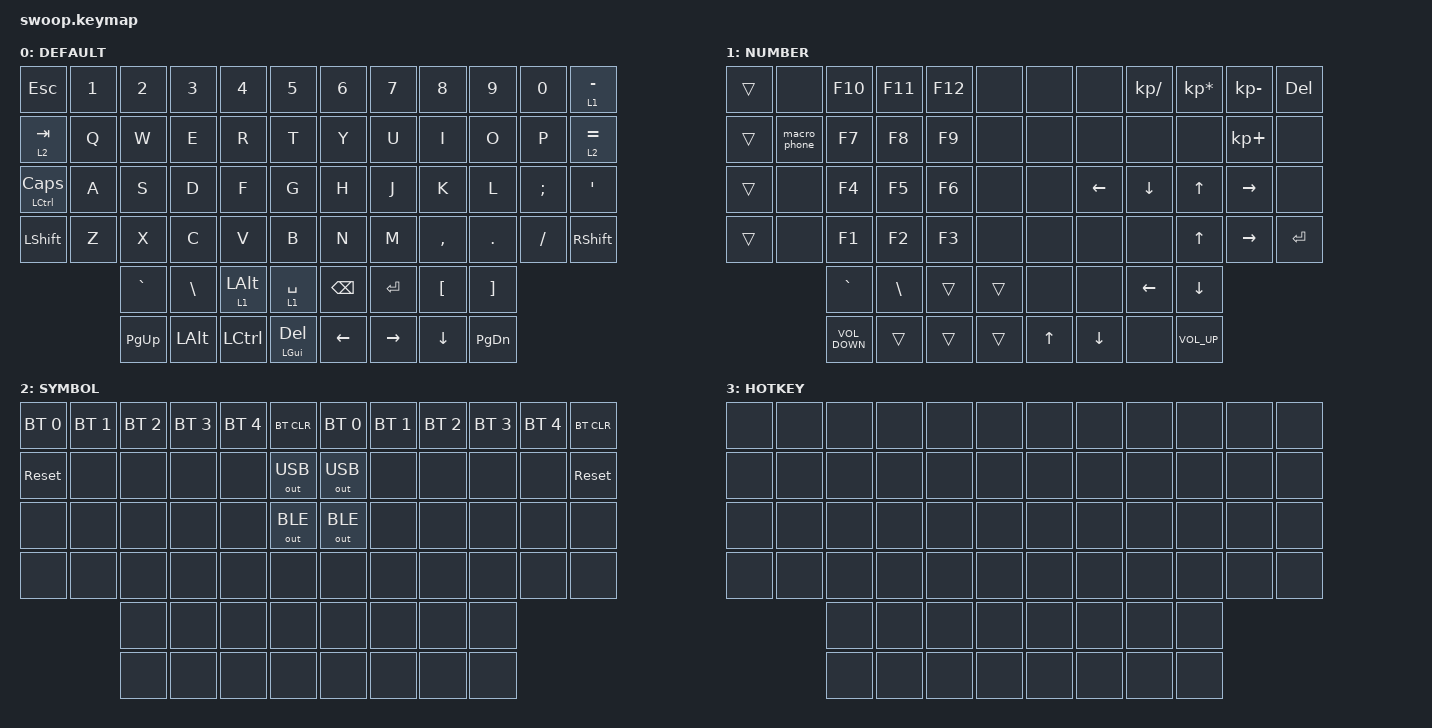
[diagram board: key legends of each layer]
#include <behaviors.dtsi>
#include <dt-bindings/zmk/bt.h>
#include <dt-bindings/zmk/keys.h>
#include <dt-bindings/zmk/outputs.h>

#define DEFAULT 0
#define NUMBER  1
#define SYMBOL  2
#define HOTKEY  3

#define AS(keycode) &as LS(keycode) keycode

/ {
    behaviors {
        td0: tap_dance_0 {
            compatible = "zmk,behavior-tap-dance";
            label = "TAP_DANCE_0";
            #binding-cells = <0>;
            tapping-term-ms = <200>;
            bindings = <&kp ESC>, <&kp TAB>;
        };
    };

    behaviors {
        as: auto_shift {
            compatible = "zmk,behavior-hold-tap";
            label = "AUTO_SHIFT";
            #binding-cells = <2>;
            tapping-term-ms = <200>;
            quick-tap-ms = <0>;
            flavor = "tap-preferred";
            bindings = <&kp>, <&kp>;
        };

        modcp: mod_copy {
            compatible = "zmk,behavior-mod-morph";
            label = "MOD_COPY";
            #binding-cells = <0>;
            bindings = <&as LS(C) C>, <&kp C>;

            mods = <(LGUI | RGUI)>;
        };
    };

    macros {
        macro_phone: macro_phone {
            // 1351

            label = "MACRO_PHONE";
            compatible = "zmk,behavior-macro";
            #binding-cells = <0>;
            bindings = <&kp N1 &kp N3 &kp N5 &kp N1>;
        };

        macro_email_q: macro_email_q {
            // 2894512440@qq.com

            label = "MACRO_EMAIL_QQ";
            compatible = "zmk,behavior-macro";
            #binding-cells = <0>;
            bindings = <&kp N2 &kp N8 &kp N9 &kp N4 &kp N5 &kp N1 &kp N2 &kp N4 &kp N4 &kp N0 &kp AT &kp Q &kp Q &kp DOT &kp C &kp O &kp M>;
        };

        macro_email_g: macro_email_g {
            // 135115

            compatible = "zmk,behavior-macro";
            label = "MACRO_EMAIL_GMAIL";
            #binding-cells = <0>;
            bindings = <&kp N1 &kp N3 &kp N5 &kp N1 &kp N1 &kp N5>;
        };
    };

    combos {
        compatible = "zmk,combos";

        combo_LSHFT {
            timeout-ms = <50>;
            key-positions = <14 15>;
            bindings = <&kp  LSHFT>;
        };
    };

    keymap {
        compatible = "zmk,keymap";

        default_layer {
            label = "DEFAULT";
            bindings = <
&kp ESCAPE             &kp N1  &kp N2       &kp N3         &kp N4          &kp N5               &kp N6         &kp N7     &kp N8     &kp N9         &kp N0    &lt 1 MINUS
&lt 2 TAB              &kp Q   &kp W        &kp E          &kp R           &kp T                &kp Y          &kp U      &kp I      &kp O          &kp P     &lt 2 EQUAL
&mt LEFT_CONTROL CAPS  &kp A   &kp S        &kp D          &kp F           &kp G                &kp H          &kp J      &kp K      &kp L          &kp SEMI  &kp SQT
&kp LSHFT              &kp Z   &kp X        &kp C          &kp V           &kp B                &kp N          &kp M      &kp COMMA  &kp DOT        &kp FSLH  &kp RSHFT
                               &kp GRAVE    &kp BACKSLASH  &lt 1 LEFT_ALT  &lt 1 SPACE          &kp BACKSPACE  &kp ENTER  &kp LBKT   &kp RBKT
                               &kp PAGE_UP  &kp LALT       &kp LCTRL       &mt LEFT_GUI DELETE  &kp LEFT       &kp RIGHT  &kp DOWN   &kp PAGE_DOWN
            >;
        };

        number_layer {
            label = "NUMBER";
            bindings = <
&trans  &none         &kp F10            &kp F11        &kp F12  &none   &none   &none           &kp KP_SLASH    &kp KP_MULTIPLY  &kp KP_MINUS     &kp DEL
&trans  &macro_phone  &kp F7             &kp F8         &kp F9   &none   &none   &none           &none           &none            &kp KP_PLUS      &none
&trans  &none         &kp F4             &kp F5         &kp F6   &none   &none   &kp LEFT_ARROW  &kp DOWN_ARROW  &kp UP_ARROW     &kp RIGHT_ARROW  &none
&trans  &none         &kp F1             &kp F2         &kp F3   &none   &none   &none           &none           &kp UP_ARROW     &kp RIGHT_ARROW  &kp ENTER
                      &kp GRAVE          &kp BACKSLASH  &trans   &trans  &none   &none           &kp LEFT_ARROW  &kp DOWN_ARROW
                      &kp C_VOLUME_DOWN  &trans         &trans   &trans  &kp UP  &kp DOWN        &none           &kp C_VOLUME_UP
            >;
        };

        symbol_layer {
            label = "SYMBOL";
            bindings = <
&bt BT_SEL 0  &bt BT_SEL 1  &bt BT_SEL 2  &bt BT_SEL 3  &bt BT_SEL 4  &bt BT_CLR    &bt BT_SEL 0  &bt BT_SEL 1  &bt BT_SEL 2  &bt BT_SEL 3  &bt BT_SEL 4  &bt BT_CLR
&sys_reset    &none         &none         &none         &none         &out OUT_USB  &out OUT_USB  &none         &none         &none         &none         &sys_reset
&none         &none         &none         &none         &none         &out OUT_BLE  &out OUT_BLE  &none         &none         &none         &none         &none
&none         &none         &none         &none         &none         &none         &none         &none         &none         &none         &none         &none
                            &none         &none         &none         &none         &none         &none         &none         &none
                            &none         &none         &none         &none         &none         &none         &none         &none
            >;
        };

        hotkey_layer {
            label = "HOTKEY";
            bindings = <
&none  &none  &none  &none  &none  &none  &none  &none  &none  &none  &none  &none
&none  &none  &none  &none  &none  &none  &none  &none  &none  &none  &none  &none
&none  &none  &none  &none  &none  &none  &none  &none  &none  &none  &none  &none
&none  &none  &none  &none  &none  &none  &none  &none  &none  &none  &none  &none
              &none  &none  &none  &none  &none  &none  &none  &none
              &none  &none  &none  &none  &none  &none  &none  &none
            >;
        };
    };
};
